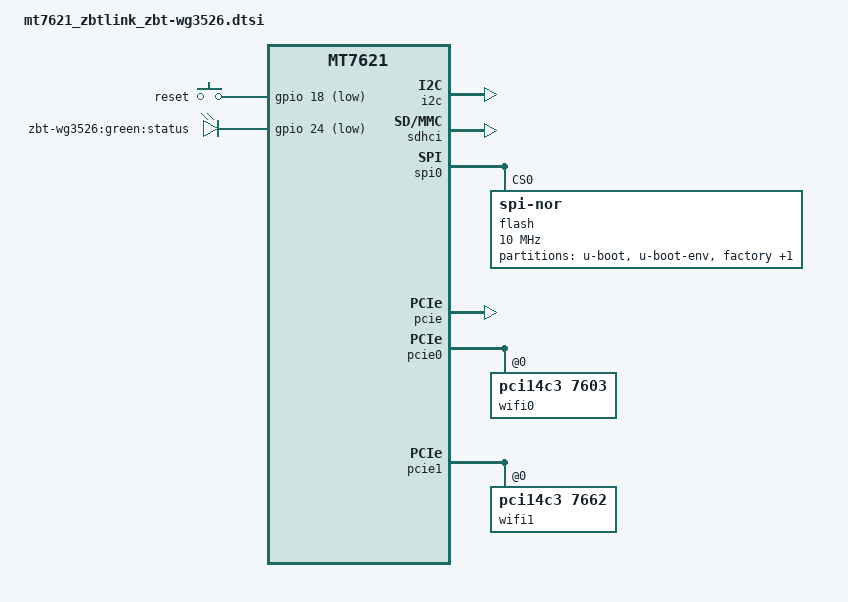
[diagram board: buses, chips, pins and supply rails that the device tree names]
#include "mt7621.dtsi"

#include <dt-bindings/gpio/gpio.h>
#include <dt-bindings/input/input.h>

/ {
	compatible = "zbtlink,zbt-wg3526", "mediatek,mt7621-soc";

	aliases {
		led-boot = &led_status;
		led-failsafe = &led_status;
		led-running = &led_status;
		led-upgrade = &led_status;
		label-mac-device = &wifi0;
	};

	chosen {
		bootargs = "console=ttyS0,115200";
	};

	keys {
		compatible = "gpio-keys";

		reset {
			label = "reset";
			gpios = <&gpio 18 GPIO_ACTIVE_LOW>;
			linux,code = <KEY_RESTART>;
		};
	};

	leds {
		compatible = "gpio-leds";

		led_status: status {
			label = "zbt-wg3526:green:status";
			gpios = <&gpio 24 GPIO_ACTIVE_LOW>;
		};
	};
};

&i2c {
	status = "okay";
};

&sdhci {
	status = "okay";
};

&spi0 {
	status = "okay";

	flash@0 {
		compatible = "jedec,spi-nor";
		reg = <0>;
		spi-max-frequency = <10000000>;

		partitions {
			compatible = "fixed-partitions";
			#address-cells = <1>;
			#size-cells = <1>;

			partition@0 {
				label = "u-boot";
				reg = <0x0 0x30000>;
				read-only;
			};

			partition@30000 {
				label = "u-boot-env";
				reg = <0x30000 0x10000>;
				read-only;
			};

			factory: partition@40000 {
				label = "factory";
				reg = <0x40000 0x10000>;
				read-only;
			};

			firmware: partition@50000 {
				compatible = "denx,uimage";
				label = "firmware";
			};
		};
	};
};

&pcie {
	status = "okay";
};

&pcie0 {
	wifi0: wifi@0,0 {
		compatible = "pci14c3,7603";
		reg = <0x0000 0 0 0 0>;
		mediatek,mtd-eeprom = <&factory 0x0000>;
	};
};

&pcie1 {
	wifi1: wifi@0,0 {
		compatible = "pci14c3,7662";
		reg = <0x0000 0 0 0 0>;
		mediatek,mtd-eeprom = <&factory 0x8000>;
		ieee80211-freq-limit = <5000000 6000000>;

		led {
			led-sources = <2>;
		};
	};
};

&gmac0 {
	mtd-mac-address = <&factory 0xe000>;
};

&switch0 {
	ports {
		port@0 {
			status = "okay";
			label = "lan1";
		};

		port@1 {
			status = "okay";
			label = "lan2";
		};

		port@2 {
			status = "okay";
			label = "lan3";
		};

		port@3 {
			status = "okay";
			label = "lan4";
		};

		port@4 {
			status = "okay";
			label = "wan";
			mtd-mac-address = <&factory 0xe000>;
			mtd-mac-address-increment = <1>;
		};
	};
};

&state_default {
	gpio {
		groups = "wdt", "rgmii2";
		function = "gpio";
	};
};
